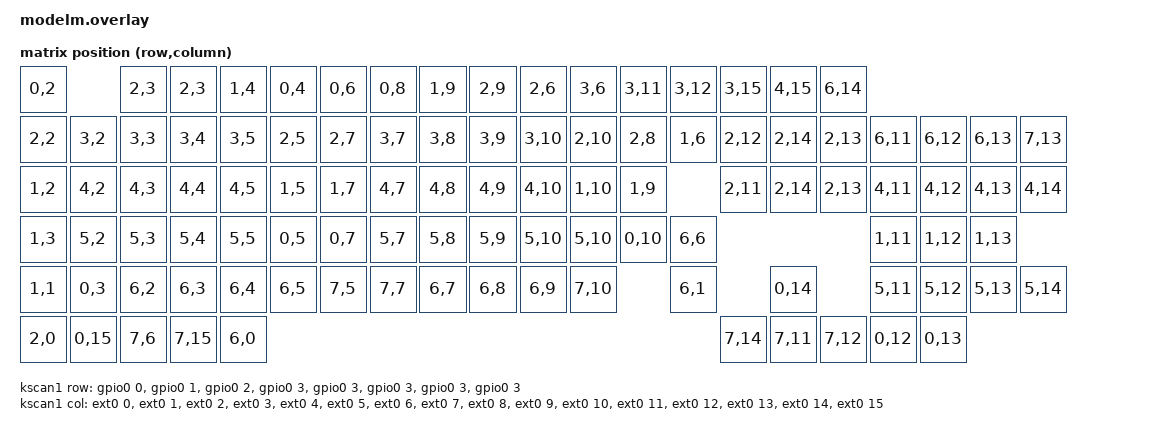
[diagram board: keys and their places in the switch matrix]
#include <dt-bindings/zmk/matrix_transform.h>

/ {
	chosen {
		zephyr,console = &cdc_acm_uart;
		zmk,kscan = &kscan1;
		zmk,matrix-transform = &default_transform;
	};
	
	// kscan1: kscan {
	//     compatible = "zmk,kscan-gpio-direct";
	//     label = "kscan1";
	
	//     input-gpios =
	//         <&gpio0 4 (GPIO_ACTIVE_HIGH | GPIO_PULL_DOWN)>,
	//         <&gpio0 5 (GPIO_ACTIVE_HIGH | GPIO_PULL_DOWN)>,
	//         <&gpio0 30 (GPIO_ACTIVE_HIGH | GPIO_PULL_DOWN)>,
	//         <&gpio0 28 (GPIO_ACTIVE_HIGH | GPIO_PULL_DOWN)>,
	//         <&gpio0 5 (GPIO_ACTIVE_HIGH | GPIO_PULL_DOWN)>,
	//         <&gpio0 3 (GPIO_ACTIVE_HIGH | GPIO_PULL_DOWN)>,
	//         <&gpio0 14 (GPIO_ACTIVE_HIGH | GPIO_PULL_DOWN)>,
	//         <&gpio0 13 (GPIO_ACTIVE_HIGH | GPIO_PULL_DOWN)>,
	//         <&gpio0 15 (GPIO_ACTIVE_HIGH | GPIO_PULL_DOWN)>
	// 	;
	// };
	
	// kscan1: kscan {
	//     compatible = "zmk,kscan-gpio-direct";
	//     label = "kscan1";
	
	//     input-gpios =
	//         <&ext0 1 (GPIO_ACTIVE_HIGH | GPIO_PULL_DOWN)>,
	//         <&ext0 2 (GPIO_ACTIVE_HIGH | GPIO_PULL_DOWN)>,
	//         <&ext0 3 (GPIO_ACTIVE_HIGH | GPIO_PULL_DOWN)>,
	//         <&ext0 4 (GPIO_ACTIVE_HIGH | GPIO_PULL_DOWN)>,
	//         <&ext0 5 (GPIO_ACTIVE_HIGH | GPIO_PULL_DOWN)>,
	//         <&ext0 6 (GPIO_ACTIVE_HIGH | GPIO_PULL_DOWN)>,
	//         <&ext0 7 (GPIO_ACTIVE_HIGH | GPIO_PULL_DOWN)>,
	//         <&ext0 8 (GPIO_ACTIVE_HIGH | GPIO_PULL_DOWN)>,
	//         <&ext0 9 (GPIO_ACTIVE_HIGH | GPIO_PULL_DOWN)>;
	// };
	
	kscan1: kscan {
		compatible = "zmk,kscan-gpio-matrix";
		diode-direction = "row2col";
		
		col-gpios =
		<&ext0 0 (GPIO_ACTIVE_HIGH | GPIO_PULL_DOWN)>,
		<&ext0 1 (GPIO_ACTIVE_HIGH | GPIO_PULL_DOWN)>,
		<&ext0 2 (GPIO_ACTIVE_HIGH | GPIO_PULL_DOWN)>,
		<&ext0 3 (GPIO_ACTIVE_HIGH | GPIO_PULL_DOWN)>,
		<&ext0 4 (GPIO_ACTIVE_HIGH | GPIO_PULL_DOWN)>,
		<&ext0 5 (GPIO_ACTIVE_HIGH | GPIO_PULL_DOWN)>,
		<&ext0 6 (GPIO_ACTIVE_HIGH | GPIO_PULL_DOWN)>,
		<&ext0 7 (GPIO_ACTIVE_HIGH | GPIO_PULL_DOWN)>,
		<&ext0 8 (GPIO_ACTIVE_HIGH | GPIO_PULL_DOWN)>,
		<&ext0 9 (GPIO_ACTIVE_HIGH | GPIO_PULL_DOWN)>,
		<&ext0 10 (GPIO_ACTIVE_HIGH | GPIO_PULL_DOWN)>,
		<&ext0 11 (GPIO_ACTIVE_HIGH | GPIO_PULL_DOWN)>,
		<&ext0 12 (GPIO_ACTIVE_HIGH | GPIO_PULL_DOWN)>,
		<&ext0 13 (GPIO_ACTIVE_HIGH | GPIO_PULL_DOWN)>,
		<&ext0 14 (GPIO_ACTIVE_HIGH | GPIO_PULL_DOWN)>,
		<&ext0 15 (GPIO_ACTIVE_HIGH | GPIO_PULL_DOWN)>;
		
		row-gpios =
		<&gpio0 0 GPIO_ACTIVE_HIGH>,
		<&gpio0 1 GPIO_ACTIVE_HIGH>,
		<&gpio0 2 GPIO_ACTIVE_HIGH>,
		<&gpio0 3 GPIO_ACTIVE_HIGH>,
		<&gpio0 3 GPIO_ACTIVE_HIGH>,
		<&gpio0 3 GPIO_ACTIVE_HIGH>,
		<&gpio0 3 GPIO_ACTIVE_HIGH>,
		<&gpio0 3 GPIO_ACTIVE_HIGH>;
	};
	
	default_transform: matrix_transform {
		compatible = "zmk,matrix-transform";
		rows = <8>;
		columns = <16>;
		
		map = <
		/*ESC             F1       F2       F3       F4       F5       F6       F7       F8       F9        F10       F11       F12         PSCRN     SCLK      PAUSE_BREAK*/
		RC(0, 2)          RC(2, 3) RC(2, 3) RC(1, 4) RC(0, 4) RC(0, 6) RC(0, 8) RC(1, 9) RC(2, 9) RC(2, 6)  RC(3, 6)  RC(3, 11) RC(3, 12)   RC(3, 15) RC(4, 15) RC(6, 14)
		
		/*NUHS   1        2        3        4        5        6        7        8        9        0         MINUS     EQUAL     BACKSPACE   INSERT    HOME      PAGE_UP     NUM_LOCK  KP_SLASH   KP_ASTERISK  KP_MINUS*/
		RC(2, 2) RC(3, 2) RC(3, 3) RC(3, 4) RC(3, 5) RC(2, 5) RC(2, 7) RC(3, 7) RC(3, 8) RC(3, 9) RC(3, 10) RC(2, 10) RC(2, 8)  RC(1, 6)    RC(2, 12) RC(2, 14) RC(2, 13)   RC(6, 11) RC(6, 12)  RC(6, 13)    RC(7, 13)
		/*TAB    Q        W        E        R        T        Y        U        I        O        P         LBRC      RBRC                  DELETE    END       PAGE_DOWN   KP_7      KP_8       KP_9        KP_PLUS*/
		RC(1, 2) RC(4, 2) RC(4, 3) RC(4, 4) RC(4, 5) RC(1, 5) RC(1, 7) RC(4, 7) RC(4, 8) RC(4, 9) RC(4, 10) RC(1, 10) RC(1, 9)              RC(2, 11) RC(2, 14) RC(2, 13)   RC(4, 11) RC(4, 12)  RC(4, 13)    RC(4, 14)
		/*CAPS   A        S        D        F        G        H        J        K        L        SEMI      QUOTE     BSLH      ENTER                                       KP_4      KP_5       KP_6*/
		RC(1, 3) RC(5, 2) RC(5, 3) RC(5, 4) RC(5, 5) RC(0, 5) RC(0, 7) RC(5, 7) RC(5, 8) RC(5, 9) RC(5, 10) RC(5, 10) RC(0, 10) RC(6, 6)                                    RC(1, 11) RC(1, 12)  RC(1, 13)
		/*LSHIFT NUBS     Z        X        C        V        B        N        M        COMMA    DOT       SLASH               RSHIFT                UP                    KP_1      KP_2       KP_3         KP_ENTER*/
		RC(1, 1) RC(0, 3) RC(6, 2) RC(6, 3) RC(6, 4) RC(6, 5) RC(7, 5) RC(7, 7) RC(6, 7) RC(6, 8) RC(6, 9)  RC(7, 10)           RC(6, 1)              RC(0, 14)             RC(5, 11) RC(5, 12)  RC(5, 13)    RC(5, 14)
		/*LCTRL             LALT                            SPACE                                           RALT                RCTRL       LEFT      DOWN      RIGHT       KP0       KP_DOT*/
		RC(2, 0)            RC(0, 15)                       RC(7, 6)                                        RC(7, 15)           RC(6, 0)    RC(7, 14) RC(7, 11) RC(7, 12)   RC(0, 12) RC(0, 13)
		>;
	};
};


&i2c0 {
	status = "okay";
	compatible = "nordic,nrf-twi";
	status = "okay";
	pinctrl-0 = <&i2c0_default>;
	pinctrl-1 = <&i2c0_sleep>;
	pinctrl-names = "default", "sleep";
	clock-frequency = <I2C_BITRATE_FAST>;
	
	ext0: mcp23017@20 {
		compatible = "microchip,mcp230xx";
		status = "okay";
		gpio-controller;
		reg = <0x20>;
		#gpio-cells = <2>;
		ngpios = <16>;
	};
};

&usbd {
	status = "okay";
	cdc_acm_uart: cdc_acm_uart {
		compatible = "zephyr,cdc-acm-uart";
	};
};
